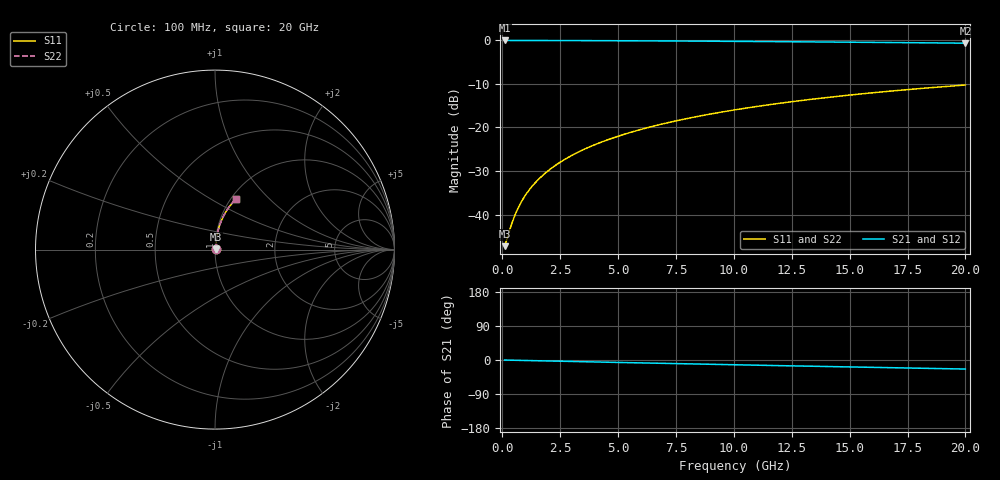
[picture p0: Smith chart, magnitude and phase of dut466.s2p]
! Touchstone file exported from HFSS 2024.1.0
!  File:  C:/UserFiles/LocalFiles/RDL_TSV_Batchsim/temp_RDL_top_466_1779677734.aedt
!  Generated:  10:57:43 AM May 25, 2026
!  Design:  RDL_top
!  Project:  temp_RDL_top_466_1779677734
!  Setup:  Setup1
!  Solution:  Sweep
! Variables:
!  dtsv = 10.80580581um
!  hbump = 3um
!  htsv = 52.81um
!  ldown = 100um
!  lrdl = 268.37um
!  p = 40
!  p1 = 42.35um
!  rhole = 1um
!  t = 450um
!  tdown = 3.915915916um
!  trdl = 2.27um
!  wdown = 15.38538539um
!  wrdl = 10.96um
# GHz S MA R 50.000000
! Terminal data exported
! Port[1] = Box2_T1
! Port[2] = Box2_T2
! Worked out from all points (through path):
!   200 points, 100 MHz to 20 GHz, reference 50 ohm
!   highest |S21| = -0.03 dB at 100 MHz (marker M1); lowest = -0.7 dB at 20 GHz (marker M2)
!   group delay of S21, straight-line fit = 3.31 ps
!   lowest |S11| = -47.3 dB at 100 MHz (marker M3), VSWR 1.01, Z = 50.4 + j0.165 ohm
!   |S11| at or under -10 dB: start of sweep to end of sweep
!   |S22| runs from -47.3 to -10.3 dB; largest |S21 - S12| = 3.1e-15
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0.1  0.004336 22.2  0.996 -0.1  0.996 -0.1  0.004336 22.2
! Gamma 0 0 0 0
! Port Impedance 50 0 50 0
0.2  0.005202 39.0  0.996 -0.3  0.996 -0.3  0.005202 39.0
0.4  0.007726 57.5  0.9959 -0.5  0.9959 -0.5  0.007726 57.5
0.6  0.01063 66.2  0.9957 -0.8  0.9957 -0.8  0.01063 66.2
0.7  0.01213 68.9  0.9956 -0.9  0.9956 -0.9  0.01213 68.9
0.9  0.01516 72.6  0.9954 -1.2  0.9954 -1.2  0.01516 72.5
1.2  0.01976 75.9  0.9952 -1.6  0.9952 -1.6  0.01976 75.9
1.4  0.02283 77.3  0.995 -1.8  0.995 -1.8  0.02283 77.3
1.7  0.02746 78.8  0.9946 -2.2  0.9946 -2.2  0.02746 78.8
2.2  0.03522 80.4  0.994 -2.9  0.994 -2.9  0.03522 80.4
2.8  0.04458 81.3  0.9932 -3.6  0.9932 -3.6  0.04458 81.3
3.5  0.05555 81.8  0.9921 -4.5  0.9921 -4.5  0.05555 81.8
4.2  0.06658 81.9  0.9907 -5.4  0.9907 -5.4  0.06657 81.9
5  0.07922 81.8  0.9889 -6.4  0.9889 -6.4  0.07922 81.8
5.9  0.09349 81.3  0.9866 -7.6  0.9866 -7.6  0.09349 81.3
6.8  0.1078 80.8  0.9841 -8.7  0.9841 -8.7  0.1078 80.8
8.3  0.1316 79.6  0.9793 -10.5  0.9793 -10.5  0.1316 79.6
10.1  0.16 77.9  0.9727 -12.7  0.9727 -12.7  0.16 77.9
11.7  0.185 76.3  0.9664 -14.6  0.9664 -14.6  0.185 76.3
13.4  0.2111 74.5  0.9591 -16.5  0.9591 -16.5  0.2111 74.5
16.7  0.2602 70.9  0.9437 -20.3  0.9437 -20.3  0.2602 70.9
20  0.3067 67.4  0.9269 -23.8  0.9269 -23.8  0.3067 67.4
